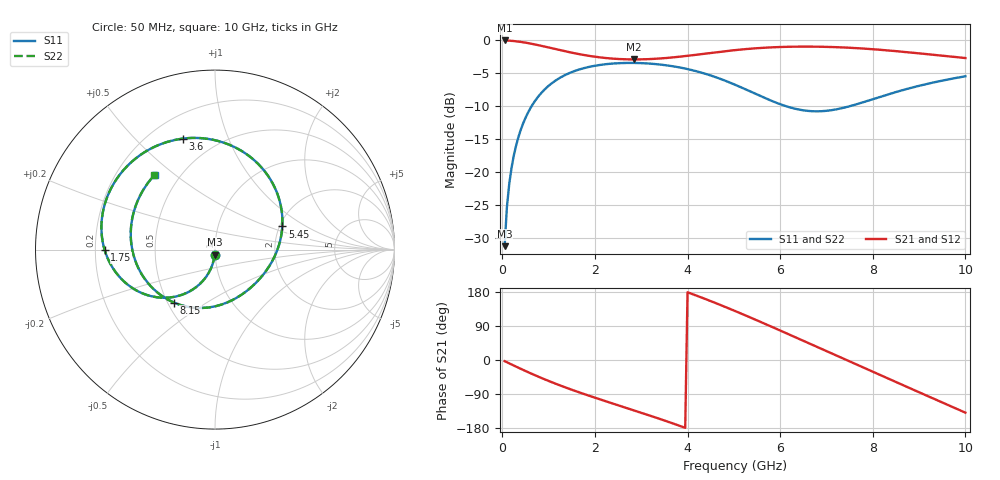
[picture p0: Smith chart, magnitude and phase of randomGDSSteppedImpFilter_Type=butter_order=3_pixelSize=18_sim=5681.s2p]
! freq	dB(S11)	phase(S11)	dB(S12)	phase(S12)
!  dB(S21)	phase(S21)	dB(S22)	phase(S22)
!S-par simulation data
#  GHz  S  DB  R 50
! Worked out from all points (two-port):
!   200 points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, 50 MHz to 10 GHz, reference 50 ohm
!   highest |S21| = -0.01 dB at 50 MHz (marker M1); lowest = -2.9 dB at 2.85 GHz (marker M2)
!   |S21| within 3 dB of the highest: start of sweep to end of sweep
!   lowest |S11| = -31.2 dB at 50 MHz (marker M3), VSWR 1.06, Z = 49.8 - j2.75 ohm
!   |S11| at or under -10 dB: start of sweep to 630.6 MHz; 6.142 GHz to 7.486 GHz (1.344 GHz wide, 19.7 % of centre)
!   |S22| runs from -31.2 to -3.4 dB; largest |S21 - S12| = 0
!   S11 on the Smith chart (normalised r, x): 50 MHz: 1.00, -0.05; 1.75 GHz: 0.24, -0.00; 3.6 GHz: 0.33, +0.70; 5.45 GHz: 2.07, +0.63; 8.15 GHz: 0.54, -0.37; 10 GHz: 0.36, +0.42
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0.05  -31.17 -93.2  -0.01 -3.0  -0.01 -3.0  -31.17 -93.2
0.1  -25.22 -96.4  -0.02 -6.0  -0.02 -6.0  -25.22 -96.4
0.2  -19.28 -102.3  -0.07 -11.8  -0.07 -11.8  -19.28 -102.3
0.5  -11.75 -119.6  -0.34 -29.0  -0.34 -29.0  -11.75 -119.6
1.05  -6.59 -148.3  -1.15 -57.7  -1.15 -57.7  -6.59 -148.3
1.75  -4.23 -179.8  -2.20 -89.2  -2.20 -89.2  -4.23 -179.8
2.3  -3.56 158.0  -2.71 -111.5  -2.71 -111.5  -3.56 158.0
2.85  -3.41 136.3  -2.88 -133.2  -2.88 -133.2  -3.41 136.4
3.4  -3.65 114.3  -2.74 -155.4  -2.74 -155.4  -3.65 114.3
3.6  -3.83 106.0  -2.63 -163.8  -2.63 -163.8  -3.83 106.0
4.35  -4.98 72.9  -2.03 162.6  -2.03 162.6  -4.98 72.9
5.05  -6.79 39.1  -1.46 128.1  -1.46 128.1  -6.79 39.2
5.45  -8.04 19.0  -1.21 107.3  -1.21 107.3  -8.04 19.0
6.05  -9.79 -12.1  -0.99 75.2  -0.99 75.2  -9.79 -12.0
6.7  -10.73 -46.8  -0.94 39.9  -0.94 39.9  -10.73 -46.7
7.4  -10.16 -85.4  -1.08 1.6  -1.08 1.6  -10.15 -85.2
7.75  -9.46 -105.1  -1.21 -17.5  -1.21 -17.5  -9.46 -104.8
8.15  -8.57 -127.5  -1.42 -39.3  -1.42 -39.3  -8.57 -127.3
8.35  -8.14 -138.8  -1.53 -50.2  -1.53 -50.2  -8.14 -138.5
8.75  -7.33 -161.1  -1.79 -71.7  -1.79 -71.7  -7.33 -160.9
9.15  -6.63 176.6  -2.07 -93.1  -2.07 -93.1  -6.63 176.9
10  -5.43 129.0  -2.67 -138.9  -2.67 -138.9  -5.43 129.3
